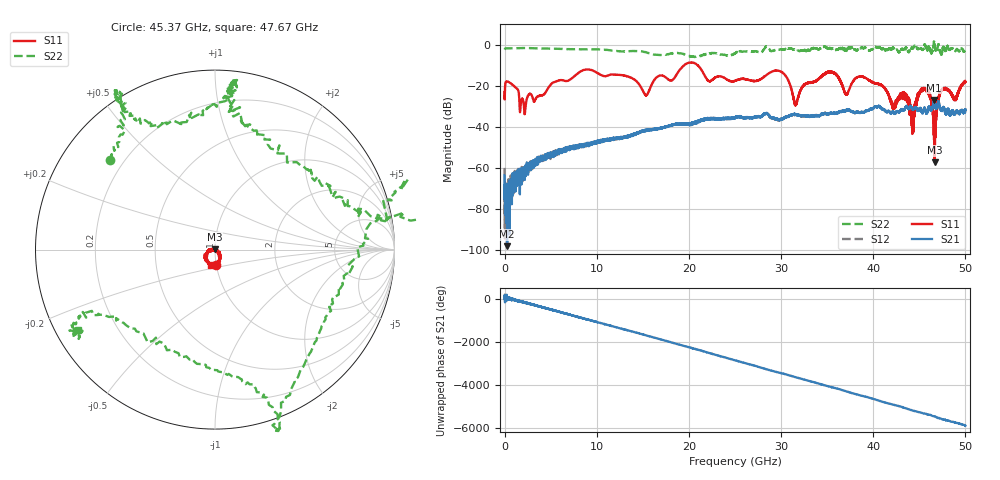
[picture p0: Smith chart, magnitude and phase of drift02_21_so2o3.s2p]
!Created with skrf (http://scikit-rf.org).
# Hz S RI R 50.0
!freq ReS11 ImS11 ReS21 ImS21 ReS12 ImS12 ReS22 ImS22
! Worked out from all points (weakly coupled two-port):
!   10001 points, 300 kHz to 50 GHz, reference 50 ohm
!   highest |S21| = -26.70 dB at 46.61 GHz (marker M1); lowest = -98.3 dB at 275.3 MHz (marker M2)
!   lowest |S11| = -57.2 dB at 46.66 GHz (marker M3), VSWR 1.00, Z = 49.9 + j0.0635 ohm
!   |S11| at or under -10 dB: start of sweep to 19.42 GHz; 21 GHz to end of sweep
!   |S22| runs from -5.7 to 2.4 dB; largest |S21 - S12| = 0.0039
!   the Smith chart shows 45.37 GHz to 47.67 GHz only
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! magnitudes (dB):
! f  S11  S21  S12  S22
! 300 kHz  -22.8  -63.7  -60.0  -2.1
! 275.3 MHz  -17.6  -98.3  -72.4  -1.4
! 2.18 GHz  -33.6  -62.2  -62.2  -1.3
! 8.335 GHz  -12.5  -49.4  -49.0  -1.9
! 15.34 GHz  -24.4  -41.6  -41.6  -3.4
! 16.67 GHz  -15.1  -40.6  -40.8  -4.8
! 20.28 GHz  -8.3  -39.0  -38.3  -5.5
! 25 GHz  -17.3  -35.3  -35.3  -3.9
! 29.84 GHz  -12.6  -36.5  -36.4  -2.1
! 31.59 GHz  -29.1  -33.6  -34.0  -2.4
! 33.34 GHz  -18.0  -34.4  -34.3  -1.6
! 35.59 GHz  -13.4  -33.2  -33.2  -1.6
! 37.1 GHz  -24.2  -31.8  -31.7  -2.2
! 38.78 GHz  -15.3  -32.8  -32.8  -1.0
! 41.67 GHz  -24.4  -32.3  -32.2  -1.9
! 43.46 GHz  -25.0  -31.0  -31.0  -1.7
! 44.25 GHz  -34.1  -31.0  -31.1  -1.5
! 45.69 GHz  -21.6  -32.1  -32.2  -0.6
! 46.61 GHz  -45.5  -26.7  -26.6  2.4
! 46.66 GHz  -57.2  -28.1  -27.9  0.8
! 47.46 GHz  -22.0  -31.3  -31.8  -3.7
! 50 GHz  -18.0  -31.3  -31.5  -2.7
